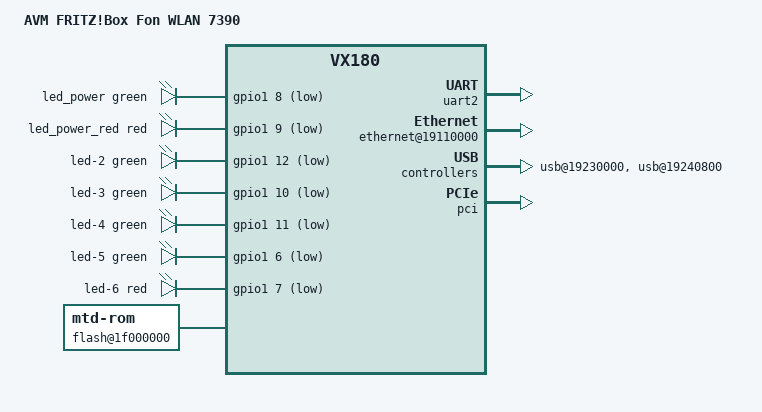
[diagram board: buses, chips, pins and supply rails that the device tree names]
// SPDX-License-Identifier: GPL-2.0
/dts-v1/;

#include <dt-bindings/gpio/gpio.h>
#include <dt-bindings/leds/common.h>

/ {
	#address-cells = <1>;
	#size-cells = <1>;
	compatible = "avm,fritzbox-7390", "ikanos,vx180";
	model = "AVM FRITZ!Box Fon WLAN 7390";

	aliases {
		serial0 = &uart2;
		led-boot = &led_power;
		led-failsafe = &led_power_red;
		led-running = &led_power;
		led-upgrade = &led_power_red;
	};

	chosen {
		stdout-path = "serial0:115200n8";
	};

	/* The numbers are those of AVM's hw156 configuration minus 16. */
	leds {
		compatible = "gpio-leds";

		led_power: led-0 {
			color = <LED_COLOR_ID_GREEN>;
			function = LED_FUNCTION_POWER;
			gpios = <&gpio1 8 GPIO_ACTIVE_LOW>;
			default-state = "keep";
		};

		led_power_red: led-1 {
			color = <LED_COLOR_ID_RED>;
			function = LED_FUNCTION_POWER;
			gpios = <&gpio1 9 GPIO_ACTIVE_LOW>;
		};

		led-2 {
			color = <LED_COLOR_ID_GREEN>;
			function = "internet";
			gpios = <&gpio1 12 GPIO_ACTIVE_LOW>;
		};

		/* Labelled "Festnetz" on the box. */
		led-3 {
			color = <LED_COLOR_ID_GREEN>;
			function = "phone";
			gpios = <&gpio1 10 GPIO_ACTIVE_LOW>;
		};

		led-4 {
			color = <LED_COLOR_ID_GREEN>;
			function = LED_FUNCTION_WLAN;
			gpios = <&gpio1 11 GPIO_ACTIVE_LOW>;
		};

		led-5 {
			color = <LED_COLOR_ID_GREEN>;
			function = "info";
			gpios = <&gpio1 6 GPIO_ACTIVE_LOW>;
		};

		led-6 {
			color = <LED_COLOR_ID_RED>;
			function = "info";
			gpios = <&gpio1 7 GPIO_ACTIVE_LOW>;
		};
	};

	cpuintc: interrupt-controller {
		compatible = "mti,cpu-interrupt-controller";
		#address-cells = <0>;
		#interrupt-cells = <1>;
		interrupt-controller;
	};

	soc {
		compatible = "simple-bus";
		#address-cells = <1>;
		#size-cells = <1>;
		ranges;

		ipc: interrupt-controller@19050000 {
			compatible = "ikanos,vx180-ipc";
			reg = <0x19050000 0x400>;
			#interrupt-cells = <1>;
			interrupt-controller;
			interrupt-parent = <&cpuintc>;
			interrupts = <2>;
		};

		/*
		 * GPIOs 16 to 31. GPIOs 0 to 15 stay without a driver, because /init
		 * drives the FPGA and the switch reset there through /dev/mem.
		 */
		gpio1: gpio@190b0000 {
			compatible = "ikanos,vx180-gpio";
			reg = <0x190b0000 0x8>;
			gpio-controller;
			#gpio-cells = <2>;
		};

		uart2: serial@190a0000 {
			compatible = "ns16450";
			reg = <0x190a0000 0x20>;
			reg-shift = <2>;
			clock-frequency = <166666666>;
			no-loopback-test;
			interrupt-parent = <&ipc>;
			interrupts = <29>;
		};

		ethernet@19110000 {
			compatible = "ikanos,fusiv-eth";
			reg = <0x19110000 0x1000>;
			interrupt-parent = <&ipc>;
			interrupts = <14>;
		};

		usb@19230000 {
			compatible = "generic-ehci";
			reg = <0x19230000 0x5c>;
			interrupt-parent = <&ipc>;
			interrupts = <35>;
		};

		usb@19240800 {
			compatible = "generic-ohci";
			reg = <0x19240800 0x5c>;
			interrupt-parent = <&ipc>;
			interrupts = <35>;
		};

		/*
		 * Mapped as ROM, so that Linux never sends a command to the chip.
		 * The urlader partition also holds secrets in its environment, so its
		 * content must stay out of logs. Only the calibration cells are used.
		 */
		flash@1f000000 {
			compatible = "mtd-rom";
			reg = <0x1f000000 0x1000000>;
			bank-width = <2>;

			partitions {
				compatible = "fixed-partitions";
				#address-cells = <1>;
				#size-cells = <1>;

				partition@0 {
					compatible = "nvmem-cells";
					label = "urlader";
					reg = <0x0 0x20000>;
					read-only;
					#address-cells = <1>;
					#size-cells = <1>;

					calibration_5ghz: calibration@985 {
						reg = <0x985 0x1000>;
					};

					calibration_2ghz: calibration@198a {
						reg = <0x198a 0x1000>;
					};
				};
			};
		};

		pci: pci@19170000 {
			compatible = "ikanos,vx180-pci";
			device_type = "pci";
			reg = <0x19170000 0x100>;
			#address-cells = <3>;
			#size-cells = <2>;
			#interrupt-cells = <1>;
			bus-range = <0x00 0x00>;
			ranges = <0x02000000 0 0x1a000000 0x1a000000 0 0x01000000>;

			wifi@1,0 {
				reg = <0x0800 0 0 0 0>;
				nvmem-cells = <&calibration_5ghz>;
				nvmem-cell-names = "calibration";
			};

			wifi@2,0 {
				reg = <0x1000 0 0 0 0>;
				nvmem-cells = <&calibration_2ghz>;
				nvmem-cell-names = "calibration";
			};
		};
	};
};
